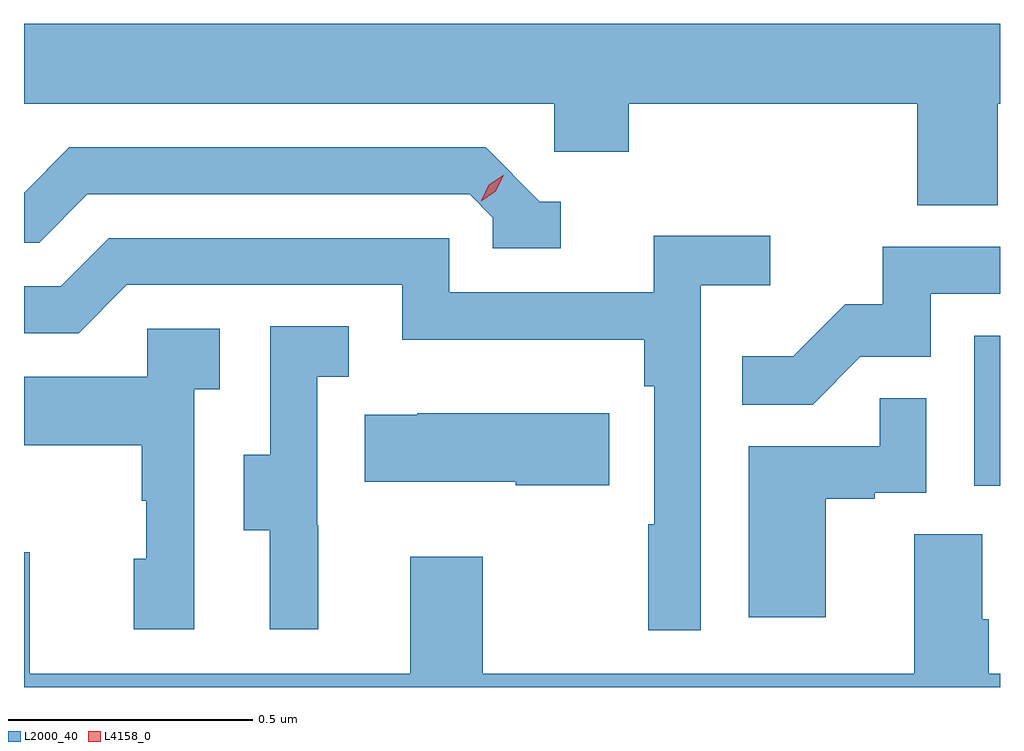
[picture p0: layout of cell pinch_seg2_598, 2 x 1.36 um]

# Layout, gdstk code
import gdstk
lib = gdstk.Library(unit=1e-6, precision=1e-09)
def R(c, l, rs):  # rectangles x0, y0, x1, y1
    for r in rs: c.add(gdstk.rectangle(r[:2], r[2:], *l))
def P(c, l, *ps):  # polygons
    for p in ps: c.add(gdstk.Polygon(p, *l))
L2000_40 = (2000, 40)
L4158_0 = (4158, 0)

pinch_seg2_598 = lib.new_cell('pinch_seg2_598')
R(pinch_seg2_598, L2000_40, [(1073.342,612.222,1073.395,612.529)])
P(pinch_seg2_598, L2000_40, [(1073.39,613.004),(1073.395,613.004),(1073.395,613.168),(1071.395,613.168),(1071.395,613.004),(1072.482,613.004),(1072.482,612.906),(1072.634,612.906),(1072.634,613.004),(1073.225,613.004),(1073.225,612.796),(1073.39,612.796)],
  [(1072.495,612.804),(1072.452,612.804),(1072.341,612.915),(1071.488,612.915),(1071.395,612.822),(1071.395,612.72),(1071.426,612.72),(1071.525,612.819),(1072.308,612.819),(1072.356,612.771),(1072.356,612.708),(1072.495,612.708)],
  [(1072.782,612.632),(1072.924,612.632),(1072.924,612.734),(1072.685,612.734),(1072.685,612.618),(1072.266,612.618),(1072.266,612.729),(1071.569,612.729),(1071.47,612.63),(1071.395,612.63),(1071.395,612.534),(1071.507,612.534),(1071.606,612.633),(1072.17,612.633),(1072.17,612.521),(1072.666,612.521),(1072.666,612.425),(1072.686,612.425),(1072.686,612.143),(1072.674,612.143),(1072.674,611.925),(1072.782,611.925)],
  [(1073.109,612.486),(1073.253,612.486),(1073.253,612.615),(1073.395,612.615),(1073.395,612.711),(1073.155,612.711),(1073.155,612.594),(1073.078,612.594),(1072.971,612.487),(1072.867,612.487),(1072.867,612.388),(1073.011,612.388)],
  [(1071.998,612.141),(1071.996,612.141),(1071.996,612.445),(1072.06,612.445),(1072.06,612.548),(1071.9,612.548),(1071.9,612.285),(1071.845,612.285),(1071.845,612.13),(1071.899,612.13),(1071.899,611.928),(1071.998,611.928)],
  [(1071.744,612.419),(1071.796,612.419),(1071.796,612.543),(1071.648,612.543),(1071.648,612.445),(1071.395,612.445),(1071.395,612.305),(1071.636,612.305),(1071.636,612.191),(1071.646,612.191),(1071.646,612.072),(1071.62,612.072),(1071.62,611.928),(1071.744,611.928)],
  [(1073.038,612.195),(1073.138,612.195),(1073.138,612.207),(1073.244,612.207),(1073.244,612.401),(1073.149,612.401),(1073.149,612.303),(1072.88,612.303),(1072.88,611.952),(1073.038,611.952)],
  [(1072.594,612.37),(1072.201,612.37),(1072.201,612.367),(1072.093,612.367),(1072.093,612.23),(1072.403,612.23),(1072.403,612.223),(1072.594,612.223)],
  [(1073.395,611.836),(1073.372,611.836),(1073.372,611.948),(1073.359,611.948),(1073.359,612.122),(1073.219,612.122),(1073.219,611.836),(1072.335,611.836),(1072.335,612.076),(1072.187,612.076),(1072.187,611.836),(1071.407,611.836),(1071.407,612.085),(1071.395,612.085),(1071.395,611.809),(1073.395,611.809)])
P(pinch_seg2_598, L4158_0, [(1072.332,612.805),(1072.332,612.806),(1072.347,612.838),(1072.377,612.858),(1072.378,612.858),(1072.378,612.858),(1072.362,612.825),(1072.332,612.805)])

lib.write_gds('pinch_seg2_598.gds')
